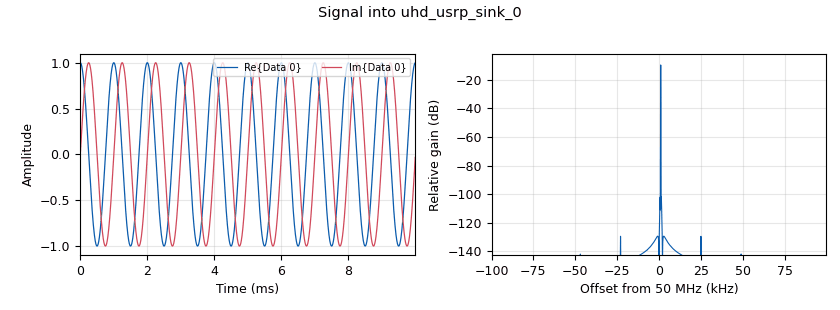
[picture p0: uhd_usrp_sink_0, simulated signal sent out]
options:
  parameters:
    author: fabian y manuel
    generate_options: qt_gui
    id: configuracionUSRP
    output_language: python
    title: practica2
  states: {}

blocks:
- name: A
  id: variable_qtgui_range
  parameters:
    label: Amplitud señal TX
    start: '0'
    step: '0.0001'
    stop: '1'
    value: '1'
  states: {}
- name: GTX
  id: variable_qtgui_range
  parameters:
    label: ganancia del TX
    start: '0'
    step: '1'
    stop: '30'
    value: '0'
  states: {}
- name: fc
  id: variable_qtgui_range
  parameters:
    label: Frecuencia Portadora
    start: '50000000'
    step: '1000000'
    stop: '2200000000'
    value: '50000000'
  states: {}
- name: samp_rate
  id: variable
  parameters:
    value: '200000'
  states: {}
- name: analog_const_source_x_0
  id: analog_const_source_x
  parameters:
    const: A
    type: complex
  states: {state: disabled}
- name: analog_sig_source_x_0
  id: analog_sig_source_x
  parameters:
    amp: A
    freq: '1000'
    offset: '0'
    phase: '0'
    samp_rate: samp_rate
    type: complex
    waveform: analog.GR_COS_WAVE
  states: {}
- name: uhd_usrp_sink_0
  id: uhd_usrp_sink
  parameters:
    ant0: '"TX/RX"'
    center_freq0: fc
    gain0: GTX
    samp_rate: samp_rate
    sync: pc_clock
    type: fc32
  states: {}

connections:
- [analog_const_source_x_0, '0', uhd_usrp_sink_0, '0']
- [analog_sig_source_x_0, '0', uhd_usrp_sink_0, '0']

metadata:
  file_format: 1
  grc_version: 3.10.5.1
